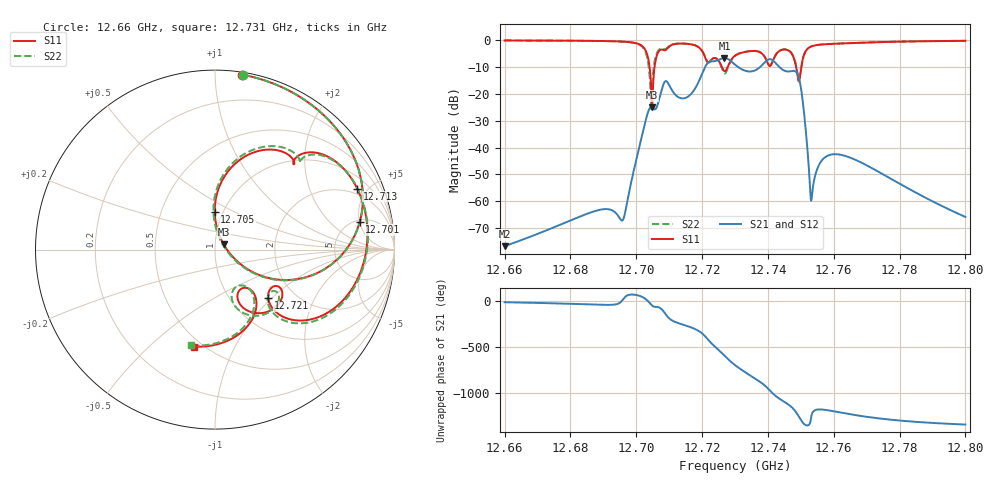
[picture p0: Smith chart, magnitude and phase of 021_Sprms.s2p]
! TOUCHSTONE file generated by CST MICROWAVE STUDIO
! Date and time: Wed Jul 31 11:40:11 2024
! Project name: WaveGuide_BPF-Ver4.1_U-shape_Ku_T3_C4_CWA_2.cst
! Parameters = {cavity_h=16; cavity_l0=10; cavity_l1=15.1631; cavity_l2=16.8318; cavity_l3=17.1407; cavity_l4=17.2491; cavity_l5=17.1265; cavity_l6=17.6108; cavity_r=2.5; cavity_screw_l=0.5; cavity_screw_r=1.5; cavity_w=8; iris_h00=0; iris_h01=8.8018; iris_h112=0; iris_h12=5.5948; iris_h211=3.6544; 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
! Header version: 2018
! Port assignment regex: !\s*Touchstone port\s*([0-9]+)\s*=\s*(CST MWS port|CST DS port)\s*([0-9]+|Zmin|Zmax)\s*\(\"(.*)\"\)(\s*mode\s*([0-9]+))?.*
! Touchstone port assignment:
! Touchstone port 1 = CST MWS port 1 ("")
! Touchstone port 2 = CST MWS port 2 ("")
# GHz S RI R 50
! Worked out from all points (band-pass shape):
!   5001 points, 12.66 GHz to 12.8 GHz, reference 50 ohm
!   highest |S21| = -6.64 dB at 12.727 GHz (marker M1); lowest = -76.7 dB at 12.66 GHz (marker M2)
!   |S21| within 3 dB of the highest: 12.72107 GHz to 12.73053 GHz (9.462 MHz wide, 0.0744 % of centre); 12.73796 GHz to 12.74315 GHz (5.195 MHz wide, 0.0408 % of centre)
!   lowest |S11| = -24.9 dB at 12.705 GHz (marker M3), VSWR 1.12, Z = 55 + j3.27 ohm
!   |S11| at or under -10 dB: 12.70405 GHz to 12.70556 GHz (1.511 MHz wide, 0.0119 % of centre); 12.72603 GHz to 12.72777 GHz (1.748 MHz wide, 0.0137 % of centre); 12.74856 GHz to 12.75015 GHz (1.591 MHz wide, 0.0125 % of centre)
!   |S22| runs from -25.8 to -0.1 dB; largest |S21 - S12| = 1e-09
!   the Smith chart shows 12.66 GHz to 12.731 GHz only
!   S11 on the Smith chart (normalised r, x): 12.66 GHz: 0.02, +1.17; 12.701 GHz: 5.32, +5.03; 12.705 GHz: 0.91, +0.40; 12.713 GHz: 1.62, +4.29; 12.721 GHz: 1.47, -0.96; 12.731 GHz: 0.45, -0.70
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12.66  0.1521 0.9743  0.000142 -3.17e-05  0.000142 -3.17e-05  0.1578 0.9734
12.68335  0.4774 0.8481  0.000443 -0.000295  0.000443 -0.000295  0.484 0.8442
12.69584  0.7484 0.567  0.000431 9.04e-05  0.000431 9.04e-05  0.7552 0.5554
12.70119  0.8061 0.1541  0.00697 0.00976  0.00697 0.00976  0.796 0.1199
12.7048  0.0482 0.0296  0.038 -0.0424  0.038 -0.0424  0.00469 0.1211
12.70528  -0.0014 0.2118  0.0269 -0.0461  0.0269 -0.0461  0.000814 0.3049
12.70668  0.2329 0.547  0.0281 -0.0629  0.0281 -0.0629  0.2775 0.5737
12.71298  0.7925 0.3399  -0.0391 0.0759  -0.0391 0.0759  0.8047 0.3168
12.72143  0.2967 -0.2718  0.2561 -0.2493  0.2561 -0.2493  0.2933 -0.2919
12.72678  0.1377 -0.2255  -0.2829 0.3699  -0.2829 0.3699  0.1116 -0.2131
12.73  0.0674 -0.5089  0.3239 0.133  0.3239 0.133  0.0511 -0.5059
12.73092  -0.1175 -0.5404  0.316 -0.0127  0.316 -0.0127  -0.1363 -0.5337
12.73445  -0.6203 -0.036  0.0166 -0.26  0.0166 -0.26  -0.6248 -0.0171
12.7379  -0.2804 0.5079  -0.3188 -0.0728  -0.3188 -0.0728  -0.2762 0.5147
12.74078  -0.105 0.3171  -0.072 0.4357  -0.072 0.4357  -0.1045 0.3229
12.7433  -0.0465 0.6134  0.301 0.1164  0.301 0.1164  -0.0464 0.6171
12.74876  0.2572 0.0778  -0.1942 -0.1526  -0.1942 -0.1526  0.2766 0.0925
12.75335  0.6282 0.4438  -0.00109 -0.000562  -0.00109 -0.000562  0.642 0.4292
12.75702  0.8333 -0.0584  -0.00147 -0.00616  -0.00147 -0.00616  0.8331 -0.0751
12.76441  0.4102 -0.7743  -0.00575 -0.0034  -0.00575 -0.0034  0.3973 -0.7816
12.77668  -0.5278 -0.7623  -0.0024 0.00139  -0.0024 0.00139  -0.5384 -0.7554
12.8  -0.9704 -0.0203  -4.23e-05 0.000508  -4.23e-05 0.000508  -0.9707 -0.0112
